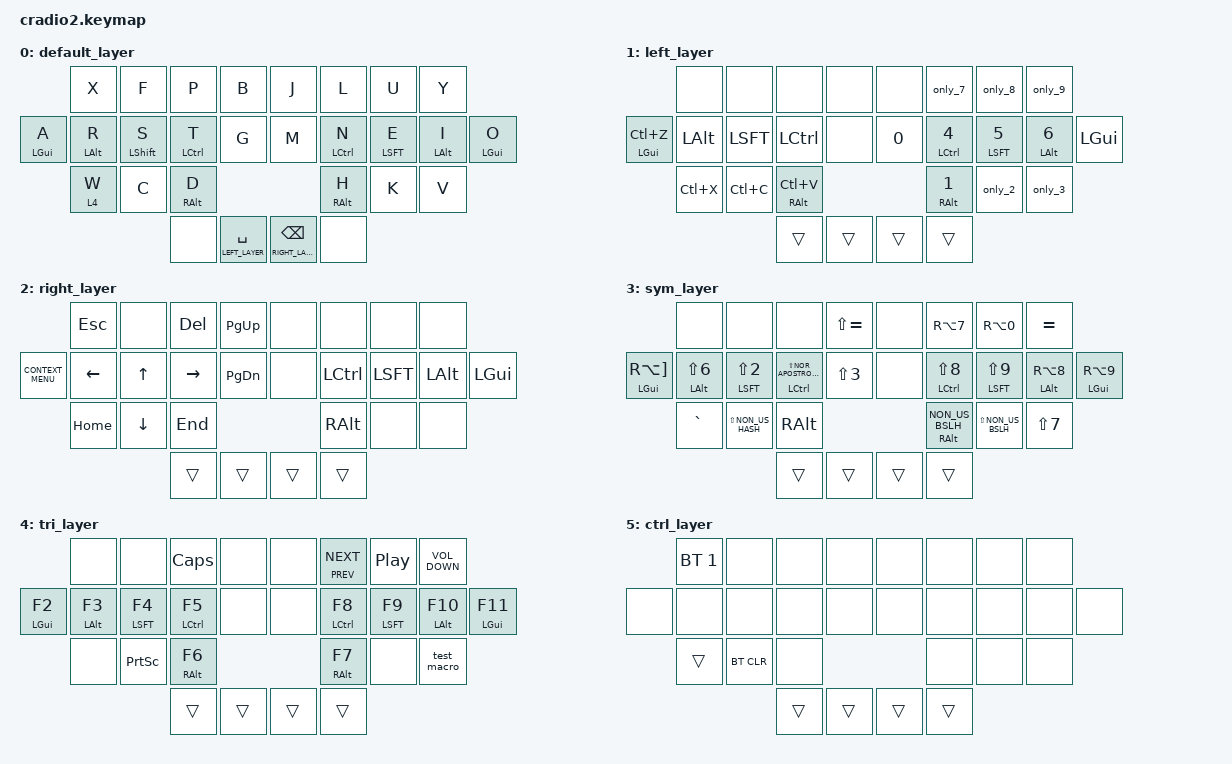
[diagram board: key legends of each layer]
// Copyright (c) 2022 The ZMK Contributors
// SPDX-License-Identifier: MIT

#include <behaviors.dtsi>
#include <dt-bindings/zmk/keys.h>
#include <dt-bindings/zmk/bt.h>

// HAND_FINGER_ROW
#define LEFT_PINKY_MIDDLE 8
#define LEFT_RING_TOP 0
#define LEFT_RING_MIDDLE 9 
#define LEFT_RING_BOTTOM 18
#define LEFT_MIDDLE_TOP 1
#define LEFT_MIDDLE_MIDDLE 10
#define LEFT_MIDDLE_BOTTOM 19
#define LEFT_INDEX_TOP 2
#define LEFT_INDEX_MIDDLE 11
#define LEFT_INDEX_BOTTOM 20
#define RIGHT_INDEX_TOP 5
#define RIGHT_INDEX_MIDDLE 14
#define RIGHT_INDEX_BOTTOM 21
#define RIGHT_MIDDLE_TOP 6
#define RIGHT_MIDDLE_MIDDLE 15
#define RIGHT_MIDDLE_BOTTOM 22
#define RIGHT_RING_TOP 7
#define RIGHT_RING_MIDDLE 16
#define RIGHT_RING_BOTTOM 23
#define RIGHT_PINKY_MIDDLE 17


// All keys on left hand including thumbs
#define KEY_INDEXES_LEFT_HAND  0  1  2  3  8  9 10 11 12 18 19 20 24 25
// All keys on right hand including thumbs 
#define KEY_INDEXES_RIGHT_HAND 4  5  6  7 13 14 15 16 17 21 22 23 26 27
// All mod keys on left hand
#define KEY_INDEXES_LEFT_MODS 8 9 10 11 20
// All mod keys on right hand
#define KEY_INDEXES_RIGHT_MODS 14 15 16 17 21

#define LEFT_LAYER 1
#define RIGHT_LAYER 2
#define SYM_LAYER 3
#define THIRD_LAYER 4
#define CTRL_LAYER_LEFT 5
#define CTRL_LAYER_RIGHT 6

#define NOR_HASH LS(NUM_3)
#define NOR_TILDE RA(RIGHT_BRACKET)
#define NOR_AMPERSAND LS(NUM_6)
#define NOR_VERTICALBAR GRAVE
#define NOR_BACKTICK LS(EQUAL)
#define NOR_QUOTATION LS(NUM_2)
#define NOR_APOSTROPHE NON_US_HASH
#define NOR_STAR LS(NOR_APOSTROPHE)
#define NOR_HYPHEN SLASH
#define NOR_UNDERSCORE LS(SLASH)
#define NOR_QUESTION_MARK LS(MINUS)
#define NOR_EXCLAMATION_MARK LS(NUM_1)
#define NOR_PLUS MINUS
#define NOR_EQUAL LS(NUM_0)
#define NOR_AE SINGLE_QUOTE
#define NOR_OE SEMICOLON
#define NOR_AA LEFT_BRACKET
#define NOR_PARENTHESIS_LEFT LS(NUM_8)
#define NOR_PARENTHESIS_RIGHT LS(NUM_9)
#define NOR_CURLYBRACE_LEFT RA(NUM_7)
#define NOR_CURLYBRACE_RIGHT RA(NUM_0)
#define NOR_SQUAREBRACKET_LEFT RA(NUM_8)
#define NOR_SQUAREBRACKET_RIGHT RA(NUM_9)
#define NOR_FORWARDSLASH LS(NUM_7)
#define NOR_BACKSLASH EQUAL



#define TAPPING_TERM 250
#define QUICK_TAP_TERM 100
#define MOD_TAP_FLAVOR "balanced"
#define COMBO_TIMEOUT 25



/ {
    conditional_layers {
        compatible = "zmk,conditional-layers";
        tri_layer {
            if-layers = <LEFT_LAYER RIGHT_LAYER>;
            then-layer = <THIRD_LAYER>;
        };
    };
	
	macros {
        test_macro: test_macro {
            label = "test_macro";
            compatible = "zmk,behavior-macro";
            #binding-cells = <0>;
			// The docs recommend a minimum of 30ms
			wait-ms = <25>;
			tap-ms = <25>;
            bindings
                = <&macro_tap &kp LS(N)>
                , <&macro_tap &kp I>
                , <&macro_tap &kp L>
                , <&macro_tap &kp S>
                , <&macro_tap &kp LS(E)>
                , <&macro_tap &kp R>
                , <&macro_tap &kp LS(K)>
                , <&macro_tap &kp U>
                , <&macro_tap &kp L>
                , <&macro_tap &kp NUM_1>
                , <&macro_tap &kp NUM_2>
                , <&macro_tap &kp NUM_3>
                , <&macro_tap &kp LS(NUM_1)>
                ;
        };
    };

    behaviors {
		mc_ht: media_control_hold_tap {
            compatible = "zmk,behavior-hold-tap";
            label = "MEDIA_CONTROL_HOLD_TAP";
            #binding-cells = <2>;
            flavor = "tap-preferred";
            tapping-term-ms = <1000>;
            bindings = <&kp>, <&kp>;
        };
	
		c_l_mt: custom_left_mod_tap {
			compatible = "zmk,behavior-hold-tap";
			label = "CUSTOM_LEFT_MOD_TAP";
			#binding-cells = <2>;
			flavor = MOD_TAP_FLAVOR;
			tapping-term-ms = <TAPPING_TERM>;
			quick-tap-ms = <QUICK_TAP_TERM>;
            bindings = <&kp>, <&kp>;
            hold-trigger-key-positions = <KEY_INDEXES_RIGHT_HAND KEY_INDEXES_LEFT_MODS>;
		};
		c_r_mt: custom_right_mod_tap {
			compatible = "zmk,behavior-hold-tap";
			label = "CUSTOM_RIGHT_MOD_TAP";
			#binding-cells = <2>;
			flavor = MOD_TAP_FLAVOR;
			tapping-term-ms = <TAPPING_TERM>;
			quick-tap-ms = <QUICK_TAP_TERM>;
			bindings = <&kp>, <&kp>;
			hold-trigger-key-positions = <KEY_INDEXES_LEFT_HAND KEY_INDEXES_RIGHT_MODS>;
		};
		
		// Puts question and exclamation mark on the same shift key
        lsh_quest_excl: lshift_quest_excl {
            compatible = "zmk,behavior-mod-morph";
            label = "QUESTION_EXCLAMATION";
            #binding-cells = <0>;
            bindings = <&kp NOR_QUESTION_MARK>, <&kp NOR_EXCLAMATION_MARK>;
            mods = <(MOD_LSFT)>;
        };
		
		lsh_apostrophe_quotation: lsh_apostrophe_quotation {
            compatible = "zmk,behavior-mod-morph";
            label = "APOSTROPHE_QUOTATION";
            #binding-cells = <0>;
            bindings = <&kp NOR_APOSTROPHE>, <&kp NOR_QUOTATION>;
            mods = <(MOD_LSFT)>;
        };
		
		
		only_0: only_0 {
            compatible = "zmk,behavior-mod-morph";
            label = "ONLY_0";
            #binding-cells = <0>;
            bindings = <&kp NUM_0>, <&kp NUM_0>;
            mods = <(MOD_LSFT)>;
        };
		only_1: only_1 {
            compatible = "zmk,behavior-mod-morph";
            label = "ONLY_1";
            #binding-cells = <0>;
            bindings = <&kp NUM_1>, <&kp NUM_1>;
            mods = <(MOD_LSFT)>;
        };
		only_2: only_2 {
            compatible = "zmk,behavior-mod-morph";
            label = "ONLY_2";
            #binding-cells = <0>;
            bindings = <&kp NUM_2>, <&kp NUM_2>;
            mods = <(MOD_LSFT)>;
        };
		only_3: only_3 {
            compatible = "zmk,behavior-mod-morph";
            label = "ONLY_3";
            #binding-cells = <0>;
            bindings = <&kp NUM_3>, <&kp NUM_3>;
            mods = <(MOD_LSFT)>;
        };
		only_7: only_7 {
            compatible = "zmk,behavior-mod-morph";
            label = "ONLY_7";
            #binding-cells = <0>;
            bindings = <&kp NUM_7>, <&kp NUM_7>;
            mods = <(MOD_LSFT)>;
        };
		only_8: only_8 {
            compatible = "zmk,behavior-mod-morph";
            label = "ONLY_8";
            #binding-cells = <0>;
            bindings = <&kp NUM_8>, <&kp NUM_8>;
            mods = <(MOD_LSFT)>;
        };
		only_9: only_9 {
            compatible = "zmk,behavior-mod-morph";
            label = "ONLY_9";
            #binding-cells = <0>;
            bindings = <&kp NUM_9>, <&kp NUM_9>;
            mods = <(MOD_LSFT)>;
        };
	};
	
	combos {
        compatible = "zmk,combos";
		
		combo_leftsymlayer {
            timeout-ms = <COMBO_TIMEOUT>;
            key-positions = <LEFT_RING_MIDDLE LEFT_INDEX_MIDDLE>;
            bindings = <&lt SYM_LAYER TAB>;
			layers = <0>;
        };
		combo_rightsymlayer {
            timeout-ms = <COMBO_TIMEOUT>;
            key-positions = <RIGHT_INDEX_MIDDLE RIGHT_RING_MIDDLE>;
            bindings = <&lt SYM_LAYER ENTER>;
			layers = <0>;
        };
		
		//
		// Base layer combos start
		//
        combo_Q {
            timeout-ms = <COMBO_TIMEOUT>;
            key-positions = <LEFT_RING_TOP LEFT_MIDDLE_TOP>;
            bindings = <&kp Q>;
			layers = <0>;
        };
		combo_Apostrophe_Quotation {
		    timeout-ms = <COMBO_TIMEOUT>;
            key-positions = <LEFT_MIDDLE_BOTTOM LEFT_INDEX_BOTTOM>;
            bindings = <&lsh_apostrophe_quotation>;
			layers = <0>;
		};
		combo_Comma {
            timeout-ms = <COMBO_TIMEOUT>;
			key-positions = <LEFT_MIDDLE_MIDDLE LEFT_INDEX_MIDDLE>;
            bindings = <&c_l_mt LS(LCTL) COMMA>;
			layers = <0>;
        };
		combo_NorAE {
            timeout-ms = <COMBO_TIMEOUT>;
            key-positions = <LEFT_MIDDLE_TOP LEFT_INDEX_TOP>;
            bindings = <&kp NOR_AE>;
			layers = <0>;
        };
		combo_NorOE {
            timeout-ms = <COMBO_TIMEOUT>;
            key-positions = <LEFT_RING_MIDDLE LEFT_MIDDLE_MIDDLE>;
            bindings = <&c_l_mt LA(LSHIFT) NOR_OE>;
			layers = <0>;
        };
		
		combo_Z {
            timeout-ms = <COMBO_TIMEOUT>;
            key-positions = <RIGHT_MIDDLE_TOP RIGHT_RING_TOP>;
            bindings = <&kp Z>;
			layers = <0>;
        };
		combo_Hyphen {
		    timeout-ms = <COMBO_TIMEOUT>;
            key-positions = <RIGHT_MIDDLE_BOTTOM RIGHT_RING_BOTTOM>;
            bindings = <&kp NOR_HYPHEN>;
			layers = <0>;
		};
		combo_Period {
            timeout-ms = <COMBO_TIMEOUT>;
            key-positions = <RIGHT_INDEX_MIDDLE RIGHT_MIDDLE_MIDDLE>;
            bindings = <&c_r_mt LC(LSHIFT) PERIOD>;
			layers = <0>;
        };
		combo_QuestionMark_ExclamationMark {
            timeout-ms = <COMBO_TIMEOUT>;
            key-positions = <RIGHT_INDEX_BOTTOM RIGHT_MIDDLE_BOTTOM>;
            bindings = <&lsh_quest_excl>;
			layers = <0>;
        };
		combo_NorAA {
            timeout-ms = <COMBO_TIMEOUT>;
            key-positions = <RIGHT_MIDDLE_MIDDLE RIGHT_RING_MIDDLE>;
            bindings = <&c_r_mt LS(LALT) NOR_AA>;
			layers = <0>;
        };
		// Base layer combos end
		
		
		// Left layer combos start
		
		combo_Plus {
		    timeout-ms = <COMBO_TIMEOUT>;
            key-positions = <RIGHT_INDEX_BOTTOM RIGHT_MIDDLE_BOTTOM>;
            bindings = <&kp NOR_PLUS>;
			layers = <LEFT_LAYER>;
		};
		combo_Equal {
		    timeout-ms = <COMBO_TIMEOUT>;
            key-positions = <RIGHT_INDEX_MIDDLE RIGHT_MIDDLE_MIDDLE>;
            bindings = <&kp NOR_EQUAL>;
			layers = <LEFT_LAYER>;
		};
		// Left layer combos end
		
	};

    keymap {
        compatible = "zmk,keymap";
		
		
        default_layer {
        bindings = <
	//				   	0			  	1				 	2				3						4		   			  	5	 		  	6				7
						&kp X      	  	&kp F            	&kp P  			&kp B					&kp J      			 	&kp L          	&kp U          	&kp Y
	//	8				9			  	10					11				12						13					 	14				15				16				17
		&c_l_mt LGUI A 	&c_l_mt LALT R 	&c_l_mt LSHIFT S 	&c_l_mt LCTL T	&kp G 			    	&kp M					&c_r_mt LCTL N 	&c_r_mt LSFT E 	&c_r_mt LALT I 	&c_r_mt LGUI O
	//					18				19					20																21				22				23
						&lt 4 W        	&kp C            	&c_l_mt RALT D													&c_r_mt RALT H 	&kp K          	&kp V
	//														24				25						26					 	27
															&none 		 	&lt LEFT_LAYER SPC		&lt RIGHT_LAYER BSPC	&none
		>;
		};
		
		left_layer {
		bindings = <
							&none     	&none     	&none    			&none 			&none     	&only_7         	&only_8          	&only_9
		&c_l_mt LGUI LC(Z) 	&kp LALT  	&kp LSFT  	&kp LCTL			&none			&kp NUM_0 	&c_r_mt LCTL NUM_4 	&c_r_mt LSFT NUM_5 	&c_r_mt LALT NUM_6 	&kp LGUI
							&kp LC(X) 	&kp LC(C) 	&c_l_mt RALT LC(V)								&c_r_mt RALT NUM_1 	&only_2          	&only_3
													&trans 		&trans	  							&trans		&trans
		>;
		};
		
		right_layer {
		bindings = <
						   &kp ESC  &none    &kp DELETE &kp PAGE_UP    	    &none  &none    &none    &none
		&kp K_CONTEXT_MENU &kp LEFT &kp UP 	 &kp RIGHT  &kp PAGE_DOWN	 	&none  &kp LCTL &kp LSFT &kp LALT &kp LGUI
						   &kp HOME &kp DOWN &kp END			    	    	   &kp RALT &none    &none
											 &trans     &trans  		    &trans &trans
		>;
		};
				
		sym_layer {
		bindings = <
								&none                      	&none                      	&none                	&kp NOR_BACKTICK 		&none  	&kp NOR_CURLYBRACE_LEFT				&kp NOR_CURLYBRACE_RIGHT			&kp NOR_BACKSLASH
		&c_l_mt LGUI NOR_TILDE  &c_l_mt LALT NOR_AMPERSAND 	&c_l_mt LSFT NOR_QUOTATION 	&c_l_mt LCTL NOR_STAR	&kp NOR_HASH   			&none 	&c_r_mt LCTL NOR_PARENTHESIS_LEFT	&c_r_mt LSFT NOR_PARENTHESIS_RIGHT	&c_r_mt LALT NOR_SQUAREBRACKET_LEFT &c_r_mt LGUI NOR_SQUAREBRACKET_RIGHT
								&kp NOR_VERTICALBAR        	&kp LS(NON_US_HASH)        	&kp RALT	 											&c_r_mt RALT NON_US_BSLH			&kp LS(NON_US_BSLH)					&kp NOR_FORWARDSLASH
																						&trans 		            &trans	  				&trans	&trans
		>;
		};
		
		tri_layer {
		bindings = <
						&none           &none           &kp CAPS        &none	    	&none  &mc_ht C_PREV C_NEXT &kp C_PLAY_PAUSE &kp C_VOLUME_DOWN 
		&c_l_mt LGUI F2 &c_l_mt LALT F3 &c_l_mt LSFT F4 &c_l_mt LCTL F5 &none			&none  &c_r_mt LCTL F8      &c_r_mt LSFT F9  &c_r_mt LALT F10  &c_r_mt LGUI F11 
						&none 		    &kp PRINTSCREEN &c_l_mt RALT F6 	 				   &c_r_mt RALT F7      &none	         &test_macro 	      
											            &trans          &trans			&trans &trans
		>;
		};
		
		ctrl_layer {
		bindings = <
				&bt BT_SEL 1	&none 		&none 	&none	    	&none	&none	&none	&none
		&none 	&none 			&none 		&none 	&none			&none	&none	&none	&none	&none 
				&trans			&bt BT_CLR	&none 	 				   		&none	&none	&none 	      
											&trans	&trans			&trans	&trans
		>;
		};

    };
};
